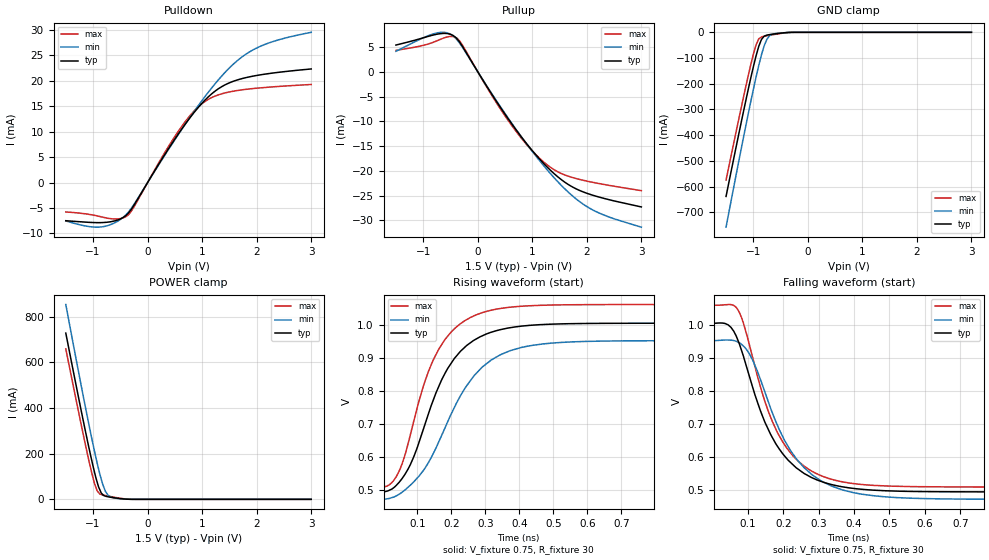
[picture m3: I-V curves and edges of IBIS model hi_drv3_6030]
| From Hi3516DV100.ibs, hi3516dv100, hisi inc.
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|   Model hi_drv3_6030
[Model]   hi_drv3_6030
Model_type   I/O
Polarity   Non-Inverting
Enable   Active-High
Vinl = 0.575
Vinh = 0.925
Vmeas = 0.75
Cref = 0
Rref = 30
Vref = 0.75
| variable   typ   min   max
C_comp   3.71825p   3.5711p   3.88438p
| Subparameter   typ   min   max
[Model Spec]
Vinl   0.575   0.575   0.575
Vinh   0.925   0.925   0.925
Vmeas   0.75   0.75   0.75
Cref   0   0   0
Rref   30   30   30
Vref   0.75   0.75   0.75
| Variable   typ   min   max
[Temperature Range] 25   125   -40
| Variable   typ   min   max
[Voltage Range]   1.5   1.425   1.575
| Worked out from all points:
|   slope of the pulldown table from 0 to 0.225 V, typ, clamps not added: 56.7 ohm
|   slope of the pullup table from 0 to 0.225 V, typ, clamps not added: 56.5 ohm
|   GND clamp passes 1 mA (typ) near -0.39 V on its own axis
|   POWER clamp passes 1 mA (typ) near -0.41 V on its own axis
|   rising waveform, V_fixture 0.75, R_fixture 30: 20-80 % time 125ps typ, 152ps min, 111ps max; typ from 0.496 V to 1 V
|   falling waveform, V_fixture 0.75, R_fixture 30: 20-80 % time 121ps typ, 131ps min, 114ps max; typ from 1.01 V to 0.495 V
[Power_clamp]
| Note that the [POWER_clamp] voltage table is referenced to Vcc
| and is calculated using Vtable=Vcc - Vmeasured.
| Voltage   I(typ)   I(min)   I(max)
-1.5V     727.7mA    852.8mA    658.7mA
-1.125V   281.1mA    385.1mA    221.9mA
-1.025V   171mA      267.7mA    116.1mA
-975mV    120.3mA    211.6mA    70.26mA
-925mV    75.44mA    158.3mA    36.86mA
-900mV    54.88mA    133.8mA    29.99mA
-850mV    27.44mA    88.23mA    21.16mA
-775mV    14.07mA    35.68mA    16.66mA
-725mV    11.03mA    17.7mA     14.3mA
-625mV    7.126mA    6.658mA    9.778mA
-325mV    220.9uA    245.7uA    291.3uA
3V        -35.46nA   -806.7nA   -14.61nA
[Pulldown]
| Voltage   I(typ)   I(min)   I(max)
-1.5V     -7.506mA   -7.543mA   -5.79mA
-900mV    -7.89mA    -8.772mA   -6.619mA
-650mV    -7.657mA   -8.154mA   -7.14mA
-450mV    -6.89mA    -6.861mA   -6.961mA
-300mV    -5.291mA   -5.09mA    -5.659mA
600mV     10.13mA    10.04mA    10.66mA
850mV     13.75mA    13.95mA    14.05mA
1.05V     16.2mA     16.88mA    15.94mA
1.4V      19.11mA    21.44mA    17.58mA
1.85V     20.75mA    25.58mA    18.39mA
2.3V      21.55mA    27.74mA    18.83mA
3V        22.35mA    29.55mA    19.29mA
[Pullup]
| Voltage   I(typ)   I(min)   I(max)
-1.5V     5.381mA    4.122mA    4.313mA
-825mV    7.38mA     7.596mA    5.905mA
-625mV    7.73mA     7.952mA    6.795mA
-475mV    7.433mA    7.419mA    7.13mA
-325mV    5.848mA    5.66mA     6.114mA
225mV     -3.98mA    -3.872mA   -4.194mA
675mV     -11.31mA   -11.21mA   -11.62mA
1.225V    -18.7mA    -19.17mA   -18.37mA
1.6V      -22.32mA   -23.67mA   -20.85mA
1.975V    -24.43mA   -27.04mA   -22.01mA
2.375V    -25.73mA   -29.19mA   -22.87mA
3V        -27.29mA   -31.37mA   -24mA
[GND_clamp]
| Voltage   I(typ)   I(min)   I(max)
-1.5V     -638.4mA   -758mA     -574.9mA
-1.15V    -277.9mA   -376.6mA   -222.6mA
-1.05V    -180.7mA   -272.8mA   -128.8mA
-950mV    -91.74mA   -174.3mA   -48.96mA
-900mV    -54.39mA   -128.6mA   -25.47mA
-850mV    -27.43mA   -86.91mA   -17.81mA
-800mV    -14.76mA   -51.66mA   -15.26mA
-750mV    -10.72mA   -26.32mA   -13.3mA
-700mV    -8.829mA   -12.74mA   -11.42mA
-600mV    -5.884mA   -5.023mA   -7.823mA
-300mV    -153uA     -214.7uA   -185.4uA
3V        64.26nA    942.4nA    12.95nA
[Ramp]
| Variable   typ   min   max
dV/dt_r   0.30736/0.120819n 0.289906/0.130692n 0.332006/0.113897n
dV/dt_f   0.30736/0.120819n 0.289906/0.130692n 0.332006/0.113897n
R_load = 30
[Rising_Waveform]
V_fixture = 0.75
V_fixture_min = 0.7125
V_fixture_max = 0.7875
R_fixture = 30
| Time   V(typ)   V(min)   V(max)
1.12ps    495.9mV    473.3mV    510.6mV
37.35ps   514.3mV    483.1mV    540.1mV
70.57ps   560mV      507.5mV    631.7mV
134.1ps   735.4mV    586.6mV    862.5mV
167.8ps   825.3mV    656.9mV    933.8mV
198.2ps   881.6mV    727.3mV    976.7mV
267.8ps   954mV      847.4mV    1.028V
317.5ps   977.6mV    893.7mV    1.044V
470.7ps   1.001V     942.4mV    1.059V
18.56ns   1.005V     952.1mV    1.061V
[Falling_Waveform]
V_fixture = 0.75
V_fixture_min = 0.7125
V_fixture_max = 0.7875
R_fixture = 30
| Time   V(typ)   V(min)   V(max)
3.2ps     1.006V     953.8mV    1.061V
50.74ps   995.8mV    955.7mV    1.063V
75.71ps   943.6mV    947.5mV    1.039V
112.6ps   814.6mV    896.5mV    904.7mV
156.4ps   686.6mV    771.3mV    742.6mV
188.3ps   625.6mV    684.6mV    665.3mV
227.5ps   577.4mV    609.7mV    604.3mV
334.2ps   518.2mV    513.9mV    534.2mV
488.6ps   498.9mV    480.4mV    513.4mV
18.56ns   495.4mV    472.9mV    510.2mV
